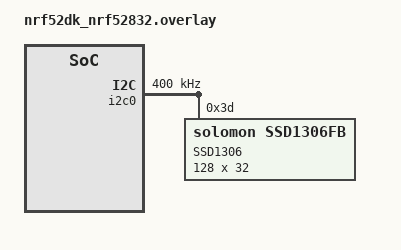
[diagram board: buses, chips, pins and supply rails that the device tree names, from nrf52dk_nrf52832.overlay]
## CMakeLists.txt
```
# SPDX-License-Identifier: Apache-2.0

cmake_minimum_required(VERSION 3.20.0)
set(SHIELD ssd1306_128x64)
set(DTC_OVERLAY_FILE nrf52dk_nrf52832.overlay)

find_package(Zephyr REQUIRED HINTS $ENV{ZEPHYR_BASE})
project(central_hr)

FILE(GLOB app_sources src/*.c)
target_sources(app PRIVATE src/main.c src/bluetoothconnection.c src/ssd_display.c)

zephyr_library_include_directories(${ZEPHYR_BASE}/samples/bluetooth)
```

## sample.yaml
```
sample:
  description: LVGL sample application
  name: lvgl
tests:
  sample.display.lvgl.gui:
    harness: display
    platform_allow: reel_board mimxrt1050_evk mimxrt1060_evk mimxrt1064_evk
    tags: samples display gui
  sample.display.lvgl.adafruit_2_8_tft_touch_v2:
    depends_on: arduino_gpio arduino_i2c arduino_spi
    # Default settings end up allocating an ~150KB sized buffer in lvgl.
    # This adds a bit of buffer to that for other data.
    min_ram: 175
    platform_exclude: reel_board reel_board_v2 ubx_evkannab1_nrf52832 stm32f769i_disco
    extra_args: SHIELD=adafruit_2_8_tft_touch_v2
    tags: shield
    harness: console
    harness_config:
      fixture: fixture_shield_adafruit_2_8_tft_touch_v2
  sample.display.lvgl.waveshare_epaper_gdeh0213b1:
    platform_allow: nrf52840dk_nrf52840
    extra_args: SHIELD=waveshare_epaper_gdeh0213b1
    tags: shield
  sample.display.lvgl.waveshare_epaper_gdeh0213b72:
    platform_allow: nrf52840dk_nrf52840
    extra_args: SHIELD=waveshare_epaper_gdeh0213b72
    tags: shield
  sample.display.lvgl.waveshare_epaper_gdeh029a1:
    platform_allow: nrf52840dk_nrf52840
    extra_args: SHIELD=waveshare_epaper_gdeh029a1
    tags: shield
  sample.display.lvgl.sdl:
    build_only: true
    platform_allow: native_posix_64
    tags: samples display gui
  sample.display.lvgl.buydisplay_2_8_tft_touch_arduino:
    platform_allow: nrf52840dk_nrf52840
    extra_args: SHIELD=buydisplay_2_8_tft_touch_arduino
    tags: shield
  sample.display.lvgl.dummy:
    build_only: true
    platform_allow: native_posix native_posix_64
    extra_args: DTC_OVERLAY_FILE="dummy_dc.overlay"
    extra_configs:
      - CONFIG_DUMMY_DISPLAY=y
      - CONFIG_KSCAN=n
      - CONFIG_SDL_DISPLAY=n
    tags: samples display gui
```

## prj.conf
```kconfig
CONFIG_BT=y
CONFIG_BT_DEBUG_LOG=y
CONFIG_BT_CENTRAL=y
CONFIG_BT_SMP=y
CONFIG_BT_GATT_CLIENT=y

CONFIG_LV_Z_MEM_POOL_NUMBER_BLOCKS=8
CONFIG_MAIN_STACK_SIZE=2048

CONFIG_DISPLAY=y
CONFIG_DISPLAY_LOG_LEVEL_ERR=y

CONFIG_LOG=y

CONFIG_LVGL=y
CONFIG_LV_MEM_CUSTOM=y
CONFIG_LV_USE_LOG=y
CONFIG_LV_USE_LABEL=y
CONFIG_LV_USE_BTN=y
CONFIG_LV_USE_IMG=y
CONFIG_LV_FONT_MONTSERRAT_14=y

CONFIG_GPIO=y
CONFIG_I2C=y

CONFIG_I2C_NRFX=y
CONFIG_LV_USE_ARC=y
CONFIG_LV_DRAW_COMPLEX=y
CONFIG_LV_USE_ANIMIMG=y
CONFIG_LV_USE_LINE=y
CONFIG_LV_USE_MENU=y
#------------------------------------

CONFIG_SSD1306=y
CONFIG_SSD1306_DEFAULT_CONTRAST=128
CONFIG_SSD1306_DEFAULT=y
#Reverse colors:
CONFIG_SSD1306_REVERSE_MODE=y
```

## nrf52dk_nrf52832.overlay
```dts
/*
 * Copyright (c) 2019 Callender-Consulting, LLC
 *
 * SPDX-License-Identifier: Apache-2.0
 */

&i2c0 {
    compatible = "nordic,nrf-twim";
    status = "okay";
    clock-frequency = <I2C_BITRATE_FAST>;
    zephyr,concat-buf-size = <1024>;


    ssd1306@3c {
        compatible = "solomon,ssd1306fb";
        reg = <0x3d>;
        label = "SSD1306";
        width = <128>;
        height = <32>;
        segment-offset = <0>;
        page-offset = <0>;
        display-offset = <0>; 
        multiplex-ratio = <31>;
        segment-remap;
        com-invdir;
        com-sequential;
        prechargep = <0x22>; 
    };
};
```

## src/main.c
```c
/* main.c - Application main entry point */

/*
 * Copyright (c) 2015-2016 Intel Corporation
 *
 * SPDX-License-Identifier: Apache-2.0
 */

#include <zephyr/types.h>
#include <stddef.h>
#include <errno.h>
#include <zephyr.h>
#include <sys/printk.h>
#include "bluetoothconnection.h"
#include "ssd_display.h"
#include <lvgl.h>

enum states {menu_state, shape_state, game_state};
enum game_movements {stop,left,right,up,down};
enum shapes {nothing, circle, tick, line, clear};

int state = menu_state;
int current_menu = 0;
int game_move = stop;
int shape = nothing;

void handle_data(char value)
{
	if(state == menu_state)
	{
		if(value == 'U')
		{
			printk("state %d value %d\n" , state, value);
			current_menu = 0;
		}
		if(value == 'D')
		{
			printk("state %d value %d\n" , state, value);
			current_menu = 1;
		}
		if(value == 'C')
		{
			printk("state %d value %d\n" , state, value);
			if(current_menu == 1)
			{
				state = game_state;
				lv_obj_clean(lv_scr_act());
				create_game_screen();
			}
			else if(current_menu == 0)
			{
				state = shape_state;
				lv_obj_clean(lv_scr_act());
				create_shape_screen();
			}
		}

	}
	else if(state == game_state)
	{
		switch(value)
		{
			case 'L':	printk("state %d value %d\n" , state, value);
						game_move = left;
						break;
			case 'R':	printk("state %d value %d\n" , state, value);
						game_move = right;
						break;
			case 'U':	printk("state %d value %d\n" , state, value);
						game_move = up;
						break;
			case 'D':	printk("state %d value %d\n" , state, value);
						game_move = down;
						break;
			case 'C':	printk("state %d value %d\n" , state, value);
						game_move = stop;
						break;
			case 'B':	printk("state %d value %d\n" , state, value);
						game_move = stop;
						state = menu_state;
						current_menu = 0;
						lv_obj_clean(lv_scr_act());
						create_menu_screen();
						break;
		}
	}
	else if(state == shape_state)
	{
		switch(value){
			case 'O': shape = circle; 
			lv_disp_load_scr(circle_shape);
				break;
			case 'T': shape = tick;
			lv_disp_load_scr(tick_shape);
				break;
			case 'L': shape = line;
			lv_disp_load_scr(line_shape);
				break;
			case 'C': shape = clear;
			lv_disp_load_scr(no_shape);
				break;
			case 'B': shape = clear;
				state = menu_state;
				lv_obj_clean(lv_scr_act());
				create_menu_screen();
				break;
			default : shape = nothing;
		}
	}
}

uint8_t notify_func(struct bt_conn *conn,
			   struct bt_gatt_subscribe_params *params,
			   const void *data, uint16_t length)
{
	if (!data) {
		printk("[UNSUBSCRIBED]\n");
		params->value_handle = 0U;
		return BT_GATT_ITER_STOP;
	}

	printk("[NOTIFICATION] data %s length %u\n", (char *)data, length);
	
	handle_data(((char *)data)[1]);

	return BT_GATT_ITER_CONTINUE;
}

void main(void)
{
	int err;
	err = bt_enable(NULL);
	

	if (err) {
		printk("Bluetooth init failed (err %d)\n", err);
		return;
	}

	printk("Bluetooth initialized\n");

	start_scan();

	initialise_display();

	create_screens();

	while (1) {
		lv_task_handler();
		k_sleep(K_MSEC(10));
		update_screen();
		
	}
}
```

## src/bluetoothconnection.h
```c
#ifndef _BLECENTERAL_
#define _BLECENTERAL_
#include <bluetooth/uuid.h>
#include <bluetooth/gatt.h>

extern void start_scan(void);
extern uint8_t notify_func(struct bt_conn *conn,
			   struct bt_gatt_subscribe_params *params,
			   const void *data, uint16_t length);;
static struct bt_conn *default_conn;

static struct bt_uuid_16 uuid = BT_UUID_INIT_16(0);
static struct bt_gatt_discover_params discover_params;
static struct bt_gatt_subscribe_params subscribe_params;

#endif
```

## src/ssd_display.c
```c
#include "ssd_display.h"

#include <device.h>
#include <drivers/display.h>
#include <lvgl.h>
#include <stdio.h>
#include <string.h>
#include <zephyr.h>

#define LOG_LEVEL CONFIG_LOG_DEFAULT_LEVEL
#include <logging/log.h>
LOG_MODULE_REGISTER(app);


enum states {menu_state, shape_state, game_state};
enum game_movements {stop,left,right,up,down};
enum shapes {nothing, circle,tick, line, clear};

const struct device *display_dev;
static lv_point_t line_points[] = {{0, 2}, {5, 7}, {0, 12}};
static lv_point_t Game_line_points[] = {{1, 1}, {2, 1}};

lv_obj_t *menu_1_label;
lv_obj_t *menu_2_label;
int menu_1_label_x = 0 , menu_1_label_y = 0;
int menu_2_label_x = 0, menu_2_label_y = 15;
int menu_1_offset_x = 0 , menu_1_offset_y = 0;
int menu_2_offset_x = 0, menu_2_offset_y = 0;
int menu_selector_offset_x = 0, menu_selector_offset_y = 0;	
lv_obj_t * menu_line;
lv_obj_t * Game_line;
int x=0,y=0;

//static lv_point_t square_points[] = {{0, 0}, {20, 0}, {20, 10}, {0, 10},{0,0}};
static lv_point_t no_point[] = {{0,0},{0,0}};
static lv_point_t tick_points[] = {{0, 0}, {20, 0}, {20, 10}};
static lv_point_t line_shape_points[] = {{0, 10}, {127, 10}};

lv_obj_t * tick_shape;
lv_obj_t * circle_shape;
lv_obj_t * line_shape;
lv_obj_t * no_shape;

int count=0;

void initialise_display(void)
{
    display_dev = DEVICE_DT_GET(DT_CHOSEN(zephyr_display));
	if (!device_is_ready(display_dev)) {
		LOG_ERR("Device not ready, aborting test");
		return;
	}
}


void create_menu_screen(void)
{
    menu_1_label = lv_label_create(lv_scr_act());
	lv_label_set_text(menu_1_label, "SHAPE");
	lv_obj_align(menu_1_label, LV_ALIGN_TOP_LEFT, menu_1_label_x + menu_1_offset_x, menu_1_label_y + menu_1_offset_y);
	//lv_obj_set_size(menu_1_label, 128, 5);
	menu_2_label = lv_label_create(lv_scr_act());
	lv_label_set_text(menu_2_label, "CAR GAME");
	lv_obj_align(menu_2_label, LV_ALIGN_TOP_LEFT, menu_2_label_x + menu_2_offset_x, menu_2_label_y + menu_2_offset_y);	

	
    menu_line = lv_line_create(lv_scr_act());
    lv_line_set_points(menu_line, line_points, 3);     /*Set the points*/
	lv_obj_align(menu_line, LV_ALIGN_TOP_LEFT, 0, 0);
}

void create_game_screen(void)
{
    Game_line = lv_line_create(lv_scr_act());
    lv_line_set_points(Game_line, Game_line_points, 2);     /*Set the points*/
	lv_obj_align(Game_line, LV_ALIGN_TOP_LEFT, 0, 0);
}

void create_shape_screen(void)
{
	 
	 //no_shape = lv_line_create(lv_scr_act());
	 //lv_line_set_points(no_shape, no_point, 2);     /*Set the points*/
	 //lv_obj_center(no_shape);
	 no_shape = lv_label_create(lv_scr_act());
	 lv_label_set_text(no_shape, " ");
	 lv_obj_center(no_shape);
	//  tick_shape = lv_line_create(lv_scr_act());
    //  lv_line_set_points(tick_shape, tick_points, 3);     /*Set the points*/
	//  lv_obj_center(tick_shape);

	 line_shape = lv_line_create(lv_scr_act());
     lv_line_set_points(line_shape, line_shape_points, 2);     /*Set the points*/
	 lv_obj_align(line_shape, LV_ALIGN_TOP_LEFT, 0, 0); 
	
}

void create_screens(void)
{
    create_menu_screen();
    //create_game_screen();
	//create_shape_screen();
    	
}

void update_menu_screen(void)
{
    if(current_menu == 1)
	{
		menu_1_offset_x = 0;
		menu_1_offset_y = 0;
		menu_2_offset_x = 15;
		menu_2_offset_y = 0;
		menu_selector_offset_x = 0;
		menu_selector_offset_y = 15;	
	}
	if(current_menu == 0)
	{
		menu_1_offset_x = 15;
		menu_1_offset_y = 0;
		menu_2_offset_x = 0;
		menu_2_offset_y = 0;
		menu_selector_offset_x = 0;
		menu_selector_offset_y = 0;	
	}
    lv_obj_align(menu_1_label, LV_ALIGN_TOP_LEFT, menu_1_label_x + menu_1_offset_x, menu_1_label_y + menu_1_offset_y);
	lv_obj_align(menu_2_label, LV_ALIGN_TOP_LEFT, menu_2_label_x + menu_2_offset_x, menu_2_label_y + menu_2_offset_y);
	lv_obj_align(menu_line, LV_ALIGN_TOP_LEFT, menu_selector_offset_x, menu_selector_offset_y);	
}

void update_game_screen(void)
{
    switch(game_move)
	{
		case left: lv_obj_align(Game_line, LV_ALIGN_TOP_LEFT, x, y);
				x--;
				if(x < 0)
				{
					x = 0;
				}
				break;
		case right: lv_obj_align(Game_line, LV_ALIGN_TOP_LEFT, x, y);
				x++;
				if(x > 126)
				{
					x = 126;
				}
				break;
		case down: lv_obj_align(Game_line, LV_ALIGN_TOP_LEFT, x, y);
				y++;
				if(y > 29)
				{
					y = 29;
				}
				break;
		case up: lv_obj_align(Game_line, LV_ALIGN_TOP_LEFT, x, y);
				y--;
				if(y < 0)
				{
					y = 0;
				}
				break;
		case stop: lv_obj_align(Game_line, LV_ALIGN_TOP_LEFT, 0, 0);
				break;
			
	}    
}

void update_shape_screen(void)
{
    if(shape == nothing)
	{

	}
	if(shape == circle)
	{

	}
	if(shape == line)
	{

	}
	if(shape == tick)
	{

	}
	if(shape == clear)
	{

	}
    
}

void update_screen(void)
{
	//printf("%d\n", state);
    if(state == menu_state)
	{	
		update_menu_screen();
	}
    if(state == game_state)
    {
        update_game_screen();
    }
	if(state == shape_state)
    {
        update_shape_screen();
    }

}
```

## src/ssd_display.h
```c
#ifndef __DISPLAY__
#define __DISPLAY__

#include <device.h>
#include <drivers/display.h>
#include <lvgl.h>

extern void initialise_display(void);
extern void create_screens(void);

extern void update_screen(void);
extern const struct device *display_dev;
extern lv_obj_t * menu_1_label;
extern lv_obj_t * menu_2_label;
extern lv_obj_t * menu_line;
extern lv_obj_t * Game_line;

extern lv_obj_t * tick_shape;
extern lv_obj_t * circle_shape;
extern lv_obj_t * line_shape;
extern lv_obj_t * no_shape;
extern int count;
extern int menu_1_label_x , menu_1_label_y;
extern int menu_2_label_x, menu_2_label_y ;
extern int menu_1_offset_x , menu_1_offset_y;
extern int menu_2_offset_x , menu_2_offset_y;
extern int menu_selector_offset_x , menu_selector_offset_y ;	


extern int state;
extern int current_menu;
extern int game_move;
extern int shape;

extern void create_game_screen(void);

#endif
```
